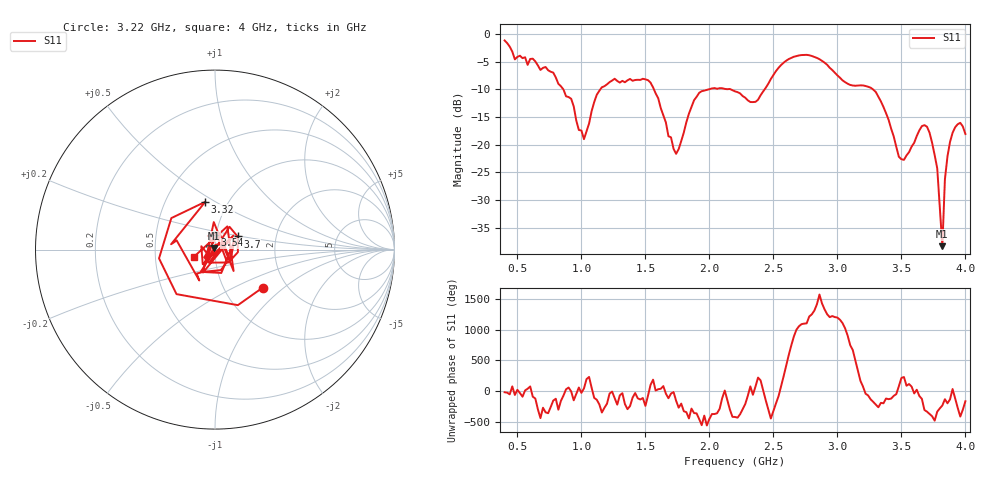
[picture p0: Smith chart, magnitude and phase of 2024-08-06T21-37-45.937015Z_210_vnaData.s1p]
!Created with skrf (http://scikit-rf.org).
# Hz S RI R 50.0
!freq ReS11 ImS11
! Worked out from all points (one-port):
!   181 points, 400 MHz to 4 GHz, reference 50 ohm
!   lowest |S11| = -38.3 dB at 3.82 GHz (marker M1), VSWR 1.02, Z = 49.2 + j0.902 ohm
!   |S11| at or under -10 dB: 859.7 MHz to 1.147 GHz (287.7 MHz wide, 28.7 % of centre); 1.567 GHz to 1.99 GHz (423.1 MHz wide, 23.8 % of centre); 3.279 GHz to end of sweep (the widest 3 of 4)
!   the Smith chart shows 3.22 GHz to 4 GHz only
!   S11 on the Smith chart (normalised r, x): 3.22 GHz: 1.52, -0.73; 3.32 GHz: 0.78, +0.45; 3.54 GHz: 0.99, +0.16; 3.7 GHz: 1.27, +0.19; 4 GHz: 0.79, -0.07
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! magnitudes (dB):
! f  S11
! 400 MHz  -1.1
! 480 MHz  -4.6
! 620 MHz  -4.4
! 860 MHz  -10.0
! 1.02 GHz  -19.0
! 1.12 GHz  -11.0
! 1.3 GHz  -8.8
! 1.54 GHz  -8.8
! 1.72 GHz  -20.7
! 1.76 GHz  -20.8
! 1.92 GHz  -10.6
! 2.2 GHz  -10.3
! 2.36 GHz  -12.2
! 2.66 GHz  -4.1
! 2.84 GHz  -4.3
! 3.1 GHz  -9.2
! 3.22 GHz  -9.4
! 3.32 GHz  -11.3
! 3.48 GHz  -22.2
! 3.54 GHz  -21.9
! 3.56 GHz  -21.3
! 3.7 GHz  -16.7
! 3.78 GHz  -24.3
! 3.82 GHz  -38.3
! 3.84 GHz  -26.2
! 3.88 GHz  -19.5
! 3.96 GHz  -16.0
! 4 GHz  -18.1
